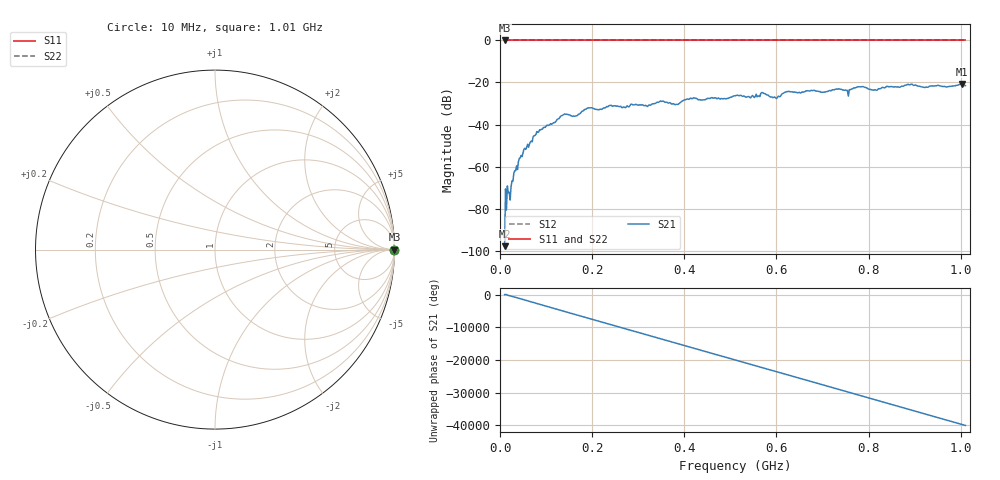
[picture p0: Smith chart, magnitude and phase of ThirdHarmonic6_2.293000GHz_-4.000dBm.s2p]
! 8/17/2025 3:03:23 AM
! C:\ANRITSUVNA\TEMP\TEMP.S2P
! CHANNEL.1
! TR.MEASUREMENT
! RAW.DATA
! RF.CORRECTION.OFF
! AVERAGING.OFF
! IF.BANDWIDTH: 5KHZ
! SWEEPTYPE:  FREQ.SWEEP(Linear)
! Reference Plane Port Info
! PORT:  PORT1  PORT2
! DISTANCE:  0  m  0  m
! TIME:  0  s  0  s
! PHASE.OFFSET:  0  deg.  0  deg.
! LOSS:  0  dB  0  dB
! REF.LOSS:  0  dB  0  dB
! REF.FREQ:  0  Hz  0  Hz
! Power Info
! POWER:  -20  dBm  -20  dBm
! EFF.POWER:  -20  dBm  -20  dBm
! SOURCE.ATTEN:  0  dB  0  dB
! TEST.ATTEN:  0  dB  0  dB
# GHZ S RI R 50.0
! FREQ.GHZ  S11RE  S11IM  S21RE  S21IM  S12RE  S12IM  S22RE  S22IM
!; PortSelection: Port_12
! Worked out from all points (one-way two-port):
!   501 points, 10 MHz to 1.01 GHz, reference 50 ohm
!   highest |S21| = -20.76 dB at 1.002 GHz (marker M1); lowest = -97.9 dB at 10 MHz (marker M2)
!   lowest |S11| = 0.0 dB at 10 MHz (marker M3)
!   |S11| at or under -10 dB: nowhere
!   |S22| runs from 0.0 to 0.0 dB; largest |S21 - S12| = 1.1
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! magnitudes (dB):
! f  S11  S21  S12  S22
! 10 MHz  0.0  -97.9  0.0  0.0
! 16 MHz  0.0  -69.2  0.0  0.0
! 18 MHz  0.0  -72.4  0.0  0.0
! 24 MHz  0.0  -69.6  0.0  0.0
! 30 MHz  0.0  -63.2  0.0  0.0
! 44 MHz  0.0  -55.8  0.0  0.0
! 76 MHz  0.0  -45.2  0.0  0.0
! 136 MHz  0.0  -35.6  0.0  0.0
! 162 MHz  0.0  -36.1  0.0  0.0
! 178 MHz  0.0  -33.7  0.0  0.0
! 194 MHz  0.0  -32.0  0.0  0.0
! 344 MHz  0.0  -29.5  0.0  0.0
! 382 MHz  0.0  -30.4  0.0  0.0
! 416 MHz  0.0  -27.7  0.0  0.0
! 510 MHz  0.0  -26.3  0.0  0.0
! 570 MHz  0.0  -24.8  0.0  0.0
! 598 MHz  0.0  -27.3  0.0  0.0
! 624 MHz  0.0  -24.3  0.0  0.0
! 678 MHz  0.0  -23.9  0.0  0.0
! 844 MHz  0.0  -22.1  0.0  0.0
! 1.002 GHz  0.0  -20.8  0.0  0.0
! 1.01 GHz  0.0  -21.5  0.0  0.0
